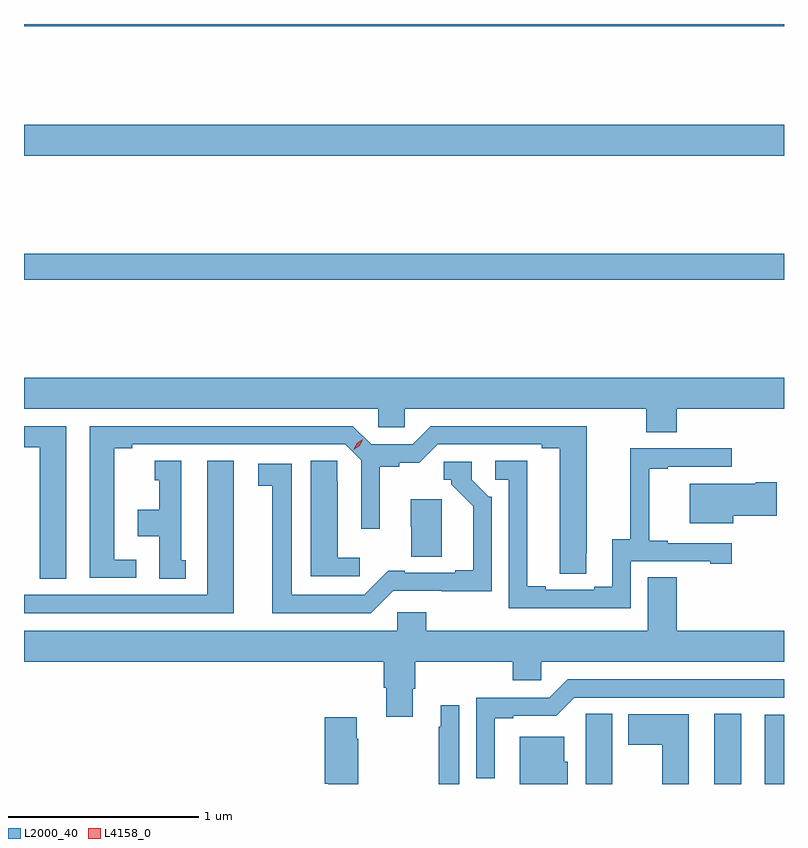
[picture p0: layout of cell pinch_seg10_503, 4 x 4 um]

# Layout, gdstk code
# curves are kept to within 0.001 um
import gdstk
lib = gdstk.Library(unit=1e-6, precision=1e-09)
def R(c, l, rs):  # rectangles x0, y0, x1, y1
    for r in rs: c.add(gdstk.rectangle(r[:2], r[2:], *l))
def P(c, l, *ps):  # polygons
    for p in ps: c.add(gdstk.Polygon(p, *l))
L2000_40 = (2000, 40)
L4158_0 = (4158, 0)

pinch_seg10_503 = lib.new_cell('pinch_seg10_503')
R(pinch_seg10_503, L2000_40, [(148.958,1267.705,149.098,1268.075), (149.222,1267.705,149.324,1268.07), (145.324,1270.36,149.324,1270.496), (145.324,1271.012,149.324,1271.176), (145.324,1271.692,149.324,1271.705)])
P(pinch_seg10_503, L2000_40, [(148.76,1269.68),(149.324,1269.68),(149.324,1269.844),(145.324,1269.844),(145.324,1269.68),(147.189,1269.68),(147.189,1269.582),(147.327,1269.582),(147.327,1269.68),(148.6,1269.68),(148.6,1269.556),(148.76,1269.556)],
  [(145.915,1268.886),(145.798,1268.886),(145.798,1269.472),(145.894,1269.472),(145.894,1269.492),(147.015,1269.492),(147.099,1269.408),(147.099,1269.048),(147.196,1269.048),(147.196,1269.376),(147.3,1269.376),(147.3,1269.395),(147.404,1269.395),(147.501,1269.492),(148.049,1269.492),(148.049,1269.472),(148.145,1269.472),(148.145,1268.812),(148.284,1268.812),(148.285,1269.588),(147.465,1269.588),(147.369,1269.492),(147.151,1269.492),(147.055,1269.588),(145.67,1269.588),(145.67,1268.79),(145.915,1268.79)],
  [(145.546,1269.588),(145.324,1269.588),(145.324,1269.477),(145.406,1269.477),(145.406,1268.785),(145.546,1268.785)],
  [(148.518,1268.877),(148.937,1268.877),(148.937,1268.865),(149.05,1268.865),(149.05,1268.973),(148.711,1268.973),(148.711,1268.986),(148.616,1268.986),(148.616,1269.363),(148.711,1269.363),(148.711,1269.375),(149.05,1269.375),(149.05,1269.471),(148.516,1269.471),(148.516,1268.993),(148.421,1268.993),(148.421,1268.742),(148.325,1268.742),(148.325,1268.727),(148.069,1268.727),(148.069,1268.747),(147.973,1268.747),(147.973,1269.407),(147.804,1269.407),(147.804,1269.306),(147.876,1269.306),(147.876,1268.631),(148.518,1268.631)],
  [(147.091,1268.896),(146.974,1268.896),(146.974,1269.299),(146.973,1269.299),(146.973,1269.407),(146.834,1269.407),(146.834,1268.799),(147.091,1268.799)],
  [(146.428,1269.406),(146.288,1269.406),(146.288,1268.7),(145.324,1268.7),(145.324,1268.604),(146.428,1268.604)],
  [(146.176,1268.883),(146.152,1268.883),(146.152,1269.406),(146.012,1269.406),(146.012,1269.303),(146.036,1269.303),(146.036,1269.148),(145.922,1269.148),(145.922,1269.008),(146.036,1269.008),(146.036,1268.785),(146.176,1268.785)],
  [(147.267,1268.721),(147.786,1268.72),(147.786,1269.216),(147.771,1269.216),(147.681,1269.306),(147.681,1269.402),(147.534,1269.402),(147.534,1269.306),(147.573,1269.306),(147.573,1269.283),(147.689,1269.166),(147.689,1268.83),(147.593,1268.83),(147.593,1268.817),(147.328,1268.817),(147.328,1268.828),(147.242,1268.828),(147.114,1268.7),(146.734,1268.7),(146.734,1269.39),(146.556,1269.39),(146.556,1269.274),(146.63,1269.274),(146.63,1268.604),(147.15,1268.604)],
  [(149.056,1269.116),(149.287,1269.116),(149.287,1269.294),(149.174,1269.294),(149.174,1269.286),(148.829,1269.286),(148.829,1269.077),(149.056,1269.077)],
  [(147.523,1269.205),(147.359,1269.205),(147.359,1269.06),(147.361,1269.06),(147.361,1268.902),(147.523,1268.902)],
  [(147.37,1268.206),(147.383,1268.206),(147.383,1268.348),(147.896,1268.348),(147.896,1268.25),(148.047,1268.25),(148.047,1268.348),(149.324,1268.348),(149.324,1268.512),(148.76,1268.512),(148.76,1268.792),(148.607,1268.792),(148.607,1268.512),(147.44,1268.512),(147.44,1268.61),(147.288,1268.61),(147.288,1268.512),(145.324,1268.512),(145.324,1268.348),(147.218,1268.348),(147.218,1268.211),(147.23,1268.211),(147.23,1268.058),(147.37,1268.058)],
  [(147.802,1268.052),(147.898,1268.052),(147.898,1268.064),(148.125,1268.064),(148.221,1268.16),(149.324,1268.16),(149.324,1268.256),(148.185,1268.256),(148.089,1268.16),(147.705,1268.16),(147.705,1267.734),(147.802,1267.734)],
  [(147.615,1268.119),(147.518,1268.119),(147.518,1268.006),(147.507,1268.006),(147.507,1267.705),(147.615,1267.705)],
  [(148.42,1268.075),(148.281,1268.075),(148.281,1267.964),(148.28,1267.964),(148.28,1267.705),(148.42,1267.705)],
  [(148.822,1268.071),(148.505,1268.071),(148.505,1267.912),(148.682,1267.912),(148.682,1267.705),(148.822,1267.705)],
  [(147.084,1267.943),(147.076,1267.943),(147.076,1268.056),(146.906,1268.056),(146.906,1267.707),(146.924,1267.707),(146.924,1267.705),(147.084,1267.705)],
  [(148.186,1267.821),(148.168,1267.821),(148.168,1267.954),(147.932,1267.954),(147.932,1267.705),(148.186,1267.705)])
P(pinch_seg10_503, L4158_0, [(147.06,1269.464),(147.06,1269.465),(147.076,1269.498),(147.106,1269.52),(147.106,1269.52),(147.106,1269.519),(147.091,1269.485),(147.06,1269.464)])

lib.write_gds('pinch_seg10_503.gds')
